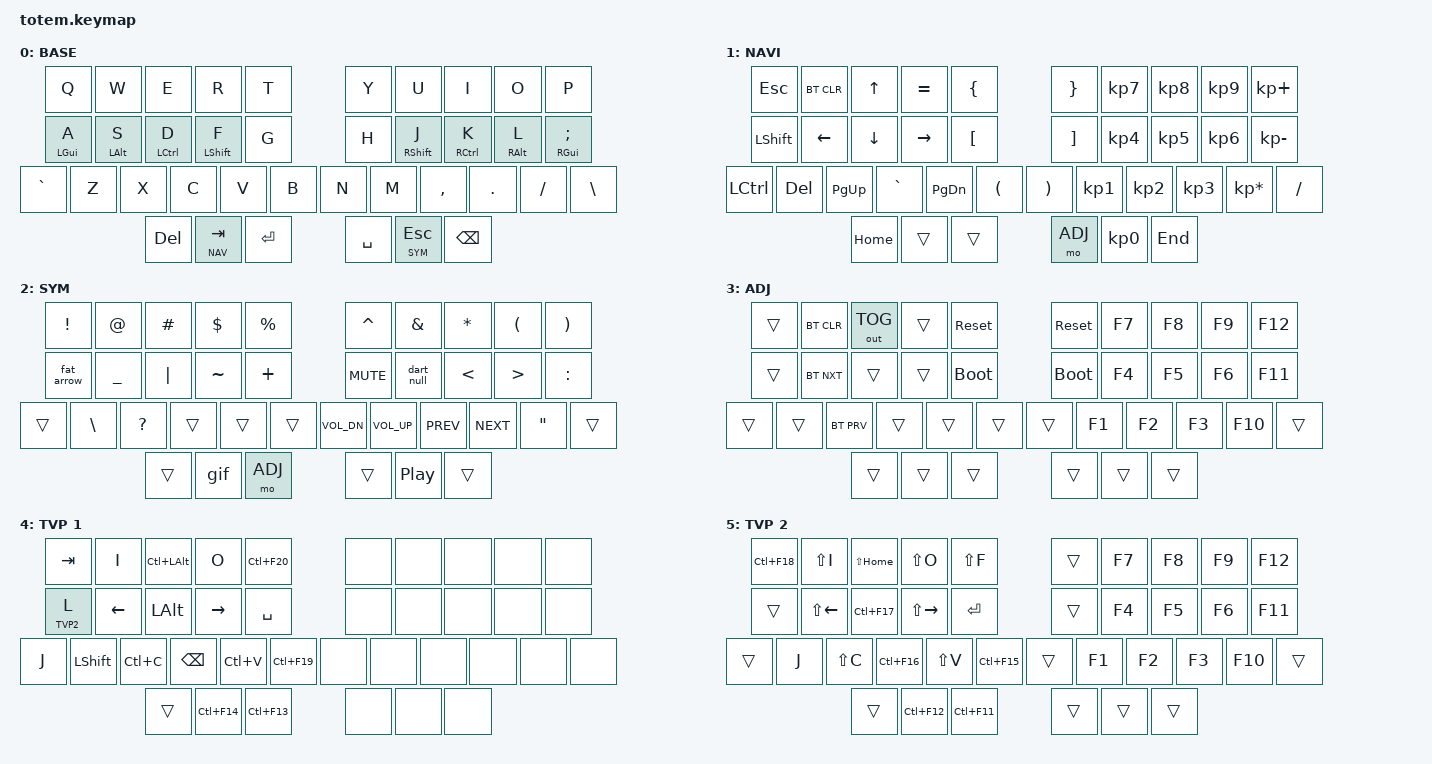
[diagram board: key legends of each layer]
//
//                                                        ▀▀▀▀▀     ▀▀▀▀▀          ▀▀█▀▀
//                                                        ▄▀▀▀▄  ▄  ▄▀▀▀▄  ▄  ▄▀▀▀▄  █  ▄▀▀▀▄
//                                                        █   █  █  █   █  █  █   █  █  █   █
//                                                         ▀▀▀   █   ▀▀▀   █   ▀▀▀   ▀   ▀▀▀
//                                                               █      ▄▄▄█▄▄▄    █   █  
//                                                               ▀      █  █  █     █▄█
//                                                             ▀▀▀▀▀    █  █  █      ▀
//                                                                      ▀  ▀  ▀
//
// ▄▄▄▄▄▄▄▄▄▄▄▄▄▄▄▄▄▄▄▄▄▄▄▄▄▄▄▄▄▄▄▄▄▄▄▄▄▄▄▄▄▄▄▄▄▄▄▄▄▄▄▄▄▄▄▄▄▄▄▄▄▄▄▄▄▄▄▄▄▄▄▄▄▄▄▄▄▄▄▄▄▄▄▄▄▄▄▄▄▄▄▄▄▄▄▄▄▄▄▄▄▄▄▄▄▄▄▄▄▄▄▄▄▄▄▄▄▄▄▄▄▄▄▄▄▄▄▄▄▄▄▄▄▄▄▄▄▄▄▄▄▄▄▄▄▄▄▄▄
       

#include <behaviors.dtsi>
#include <dt-bindings/zmk/keys.h>
#include <dt-bindings/zmk/bt.h>
#include <dt-bindings/zmk/outputs.h>

#define BASE 0
#define NAV  1
#define SYM  2
#define ADJ  3
#define TVP1 4
#define TVP2 5

&mt {
  quick-tap-ms = <100>;
  global-quick-tap;
  flavor = "tap-preferred";
  tapping-term-ms = <170>;
};

/ {
     combos {
            compatible = "zmk,combos";
            combo_esc {
                timeout-ms = <50>;
                key-positions = <0 1>;
                bindings = <&kp ESC>;
            };
            combo_tvp {
                timeout-ms = <100>;
                key-positions = <11 12 13>;
                bindings = <&tog TVP1>;
            };
            // Programming combos for Flutter/Go
            combo_underscore {
                timeout-ms = <50>;
                key-positions = <13 14>;  // R+T
                bindings = <&kp UNDER>;
            };
            combo_minus {
                timeout-ms = <50>;
                key-positions = <15 16>;  // Y+U
                bindings = <&kp MINUS>;
            };
            combo_equal {
                timeout-ms = <50>;
                key-positions = <16 17>;  // U+I
                bindings = <&kp EQUAL>;
            };
            combo_arrow {
                timeout-ms = <50>;
                key-positions = <28 29>;  // ,+.
                bindings = <&arrow_macro>;
            };
    };

    macros {
        gif: gif {
            label = "giphy";
            compatible = "zmk,behavior-macro";
            #binding-cells = <0>;
            bindings
                = <&macro_press &kp LSHFT>
                , <&macro_tap &kp N2>
                , <&macro_release &kp LSHFT>
                , <&macro_tap &kp G &kp I &kp F>
                ;
        };
        
        arrow_macro: arrow_macro {
            label = "arrow";
            compatible = "zmk,behavior-macro";
            #binding-cells = <0>;
            bindings
                = <&macro_tap &kp MINUS &kp GT>
                ;
        };
        
        fat_arrow: fat_arrow {
            label = "fat_arrow";
            compatible = "zmk,behavior-macro";
            #binding-cells = <0>;
            bindings
                = <&macro_tap &kp EQUAL &kp GT>
                ;
        };
        
        dart_null: dart_null {
            label = "dart_null";
            compatible = "zmk,behavior-macro";
            #binding-cells = <0>;
            bindings
                = <&macro_tap &kp QMARK &kp QMARK>
                ;
        };
    };


        keymap {
                compatible = "zmk,keymap";
// ▄▄▄▄▄▄▄▄▄▄▄▄▄▄▄▄▄▄▄▄▄▄▄▄▄▄▄▄▄▄▄▄▄▄▄▄▄▄▄▄▄▄▄▄▄▄▄▄▄▄▄▄▄▄▄▄▄▄▄▄▄▄▄▄▄▄▄▄▄▄▄▄▄▄▄▄▄▄▄▄▄▄▄▄▄▄▄▄▄▄▄▄▄▄▄▄▄▄▄▄▄▄▄▄▄▄▄▄▄▄▄▄▄▄▄▄▄▄▄▄▄▄▄▄▄▄▄▄▄▄▄▄▄▄▄▄▄▄▄▄▄▄▄▄▄▄▄▄▄

                base_layer {
// ┏━━━━━━━━━━━━━━━━━━━━━━━━━━━━━━━━━━━━━━━┓
label= "BASE"                              ;
// ┗━━━━━━━━━━━━━━━━━━━━━━━━━━━━━━━━━━━━━━━┛
//             ┏━━━━━━━━━━━┳━━━━━━━━━━━┳━━━━━━━━━━━┳━━━━━━━━━━━┳━━━━━━━━━━━┓   ┏━━━━━━━━━━━┳━━━━━━━━━━━┳━━━━━━━━━━━┳━━━━━━━━━━━┳━━━━━━━━━━━┓
//             ┃     Q     ┃     W     ┃     E     ┃     R     ┃     T     ┃   ┃     Y     ┃     U     ┃     I     ┃     O     ┃     P     ┃
//             ┣━━━━━━━━━━━╋━━━━━━━━━━━╋━━━━━━━━━━━╋━━━━━━━━━━━╋━━━━━━━━━━━┫   ┣━━━━━━━━━━━╋━━━━━━━━━━━╋━━━━━━━━━━━╋━━━━━━━━━━━╋━━━━━━━━━━━┫
//             ┃     A     ┃     S     ┃     D     ┃     F     ┃     G     ┃   ┃     H     ┃     J     ┃     K     ┃     L     ┃     ;     ┃
// ┏━━━━━━━━━━━╋━━━━━━━━━━━╋━━━━━━━━━━━╋━━━━━━━━━━━╋━━━━━━━━━━━╋━━━━━━━━━━━┫   ┣━━━━━━━━━━━╋━━━━━━━━━━━╋━━━━━━━━━━━╋━━━━━━━━━━━╋━━━━━━━━━━━╋━━━━━━━━━━━┓
// ┃     `     ┃     Z     ┃     X     ┃     C     ┃     V     ┃     B     ┃   ┃     N     ┃     M     ┃     ,     ┃     .     ┃     /     ┃     \     ┃
// ┗━━━━━━━━━━━┻━━━━━━━━━━━┻━━━━━━━━━━━╋━━━━━━━━━━━╋━━━━━━━━━━━╋━━━━━━━━━━━┫   ┣━━━━━━━━━━━╋━━━━━━━━━━━╋━━━━━━━━━━━╋━━━━━━━━━━━┻━━━━━━━━━━━┻━━━━━━━━━━━┛
//                                     ┃    DEL    ┃    TAB    ┃   ENTER   ┃   ┃   SPACE   ┃    SYM    ┃   BSPC    ┃
//                                     ┗━━━━━━━━━━━┻━━━━━━━━━━━┻━━━━━━━━━━━┛   ┗━━━━━━━━━━━┻━━━━━━━━━━━┻━━━━━━━━━━━┛
 bindings = <
// ╷           ╷           ╷           ╷           ╷           ╷           ╷   ╷           ╷           ╷           ╷           ╷           ╷           ╷

                &kp Q       &kp W       &kp E       &kp R       &kp T           &kp Y       &kp U       &kp I       &kp O       &kp P
                &mt LGUI A  &mt LALT S  &mt LCTRL D &mt LSHFT F &kp G           &kp H       &mt RSHFT J &mt RCTRL K &mt RALT L  &mt RGUI SEMI
    &kp GRAVE   &kp Z       &kp X       &kp C       &kp V       &kp B           &kp N       &kp M       &kp COMMA   &kp DOT     &kp FSLH    &kp BSLH
                                        &kp DEL   &lt NAV TAB   &kp RET         &kp SPACE &lt SYM ESC   &kp BSPC
                        >;
                };

// ▄▄▄▄▄▄▄▄▄▄▄▄▄▄▄▄▄▄▄▄▄▄▄▄▄▄▄▄▄▄▄▄▄▄▄▄▄▄▄▄▄▄▄▄▄▄▄▄▄▄▄▄▄▄▄▄▄▄▄▄▄▄▄▄▄▄▄▄▄▄▄▄▄▄▄▄▄▄▄▄▄▄▄▄▄▄▄▄▄▄▄▄▄▄▄▄▄▄▄▄▄▄▄▄▄▄▄▄▄▄▄▄▄▄▄▄▄▄▄▄▄▄▄▄▄▄▄▄▄▄▄▄▄▄▄▄▄▄▄▄▄▄▄▄▄▄▄▄▄


                nav_layer {
// ┏━━━━━━━━━━━━━━━━━━━━━━━━━━━━━━━━━━━━━━━┓
label= "NAVI"                              ;
// ┗━━━━━━━━━━━━━━━━━━━━━━━━━━━━━━━━━━━━━━━┛
//             ┏━━━━━━━━━━━┳━━━━━━━━━━━┳━━━━━━━━━━━┳━━━━━━━━━━━┳━━━━━━━━━━━┓   ┏━━━━━━━━━━━┳━━━━━━━━━━━┳━━━━━━━━━━━┳━━━━━━━━━━━┳━━━━━━━━━━━┓
//             ┃    ESC    ┃  BT_CLR   ┃     UP    ┃     =     ┃     {     ┃   ┃     }     ┃     7     ┃     8     ┃     9     ┃     +     ┃
//             ┣━━━━━━━━━━━╋━━━━━━━━━━━╋━━━━━━━━━━━╋━━━━━━━━━━━╋━━━━━━━━━━━┫   ┣━━━━━━━━━━━╋━━━━━━━━━━━╋━━━━━━━━━━━╋━━━━━━━━━━━╋━━━━━━━━━━━┫
//             ┃   SHIFT   ┃   LEFT    ┃    DOWN   ┃   RIGHT   ┃     [     ┃   ┃     ]     ┃     4     ┃     5     ┃     6     ┃     -     ┃
// ┏━━━━━━━━━━━╋━━━━━━━━━━━╋━━━━━━━━━━━╋━━━━━━━━━━━╋━━━━━━━━━━━╋━━━━━━━━━━━┫   ┣━━━━━━━━━━━╋━━━━━━━━━━━╋━━━━━━━━━━━╋━━━━━━━━━━━╋━━━━━━━━━━━╋━━━━━━━━━━━┓
// ┃   CTRL    ┃    DEL    ┃   P UP    ┃    `      ┃  P DOWN   ┃     (     ┃   ┃     )     ┃     1     ┃     2     ┃     3     ┃     *     ┃    /      ┃
// ┗━━━━━━━━━━━┻━━━━━━━━━━━┻━━━━━━━━━━━╋━━━━━━━━━━━╋━━━━━━━━━━━╋━━━━━━━━━━━┫   ┣━━━━━━━━━━━╋━━━━━━━━━━━╋━━━━━━━━━━━╋━━━━━━━━━━━┻━━━━━━━━━━━┻━━━━━━━━━━━┛
//                                     ┃   HOME    ┃    TAB    ┃    SPC    ┃   ┃    DEL    ┃     0     ┃    END    ┃
//                                     ┗━━━━━━━━━━━┻━━━━━━━━━━━┻━━━━━━━━━━━┛   ┗━━━━━━━━━━━┻━━━━━━━━━━━┻━━━━━━━━━━━┛
 bindings = <
// ╷           ╷           ╷           ╷           ╷           ╷           ╷   ╷           ╷           ╷           ╷           ╷           ╷           ╷

                &kp ESC     &bt BT_CLR  &kp UP      &kp EQUAL   &kp LBRC        &kp RBRC    &kp KP_N7   &kp KP_N8   &kp KP_N9   &kp KP_PLUS
                &kp LSHFT   &kp LEFT    &kp DOWN    &kp RIGHT   &kp LBKT        &kp RBKT    &kp KP_N4   &kp KP_N5   &kp KP_N6   &kp KP_MINUS
    &kp LCTRL   &kp DEL     &kp PG_UP   &kp GRAVE   &kp PG_DN   &kp LPAR        &kp RPAR    &kp KP_N1   &kp KP_N2   &kp KP_N3   &kp KP_MULTIPLY &kp FSLH      
                                        &kp HOME    &trans      &trans          &mo ADJ     &kp KP_N0   &kp END      
                        >;
                };

// ▄▄▄▄▄▄▄▄▄▄▄▄▄▄▄▄▄▄▄▄▄▄▄▄▄▄▄▄▄▄▄▄▄▄▄▄▄▄▄▄▄▄▄▄▄▄▄▄▄▄▄▄▄▄▄▄▄▄▄▄▄▄▄▄▄▄▄▄▄▄▄▄▄▄▄▄▄▄▄▄▄▄▄▄▄▄▄▄▄▄▄▄▄▄▄▄▄▄▄▄▄▄▄▄▄▄▄▄▄▄▄▄▄▄▄▄▄▄▄▄▄▄▄▄▄▄▄▄▄▄▄▄▄▄▄▄▄▄▄▄▄▄▄▄▄▄▄▄▄


                sim_layer {
// ┏━━━━━━━━━━━━━━━━━━━━━━━━━━━━━━━━━━━━━━━┓
label= "SYM"                               ;
// ┗━━━━━━━━━━━━━━━━━━━━━━━━━━━━━━━━━━━━━━━┛
//             ┏━━━━━━━━━━━┳━━━━━━━━━━━┳━━━━━━━━━━━┳━━━━━━━━━━━┳━━━━━━━━━━━┓   ┏━━━━━━━━━━━┳━━━━━━━━━━━┳━━━━━━━━━━━┳━━━━━━━━━━━┳━━━━━━━━━━━┓
//             ┃     !     ┃     @     ┃     #     ┃     $     ┃     %     ┃   ┃     ^     ┃     &     ┃     *     ┃     (     ┃     )     ┃
//             ┣━━━━━━━━━━━╋━━━━━━━━━━━╋━━━━━━━━━━━╋━━━━━━━━━━━╋━━━━━━━━━━━┫   ┣━━━━━━━━━━━╋━━━━━━━━━━━╋━━━━━━━━━━━╋━━━━━━━━━━━╋━━━━━━━━━━━┫
//             ┃    =>     ┃     _     ┃     |     ┃     ~     ┃     +     ┃   ┃   MUTE    ┃    ??     ┃     <     ┃     >     ┃     :     ┃
// ┏━━━━━━━━━━━╋━━━━━━━━━━━╋━━━━━━━━━━━╋━━━━━━━━━━━╋━━━━━━━━━━━╋━━━━━━━━━━━┫   ┣━━━━━━━━━━━╋━━━━━━━━━━━╋━━━━━━━━━━━╋━━━━━━━━━━━╋━━━━━━━━━━━╋━━━━━━━━━━━┓
// ┃           ┃     \     ┃     ?     ┃           ┃           ┃           ┃   ┃   VOL-    ┃   VOL+    ┃   LAST    ┃   NEXT    ┃     "     ┃           ┃
// ┗━━━━━━━━━━━┻━━━━━━━━━━━┻━━━━━━━━━━━╋━━━━━━━━━━━╋━━━━━━━━━━━╋━━━━━━━━━━━┫   ┣━━━━━━━━━━━╋━━━━━━━━━━━╋━━━━━━━━━━━╋━━━━━━━━━━━┻━━━━━━━━━━━┻━━━━━━━━━━━┛
//                                     ┃           ┃    GIF    ┃    ADJ    ┃   ┃           ┃   PLAY    ┃           ┃
//                                     ┗━━━━━━━━━━━┻━━━━━━━━━━━┻━━━━━━━━━━━┛   ┗━━━━━━━━━━━┻━━━━━━━━━━━┻━━━━━━━━━━━┛
 bindings = <
// ╷           ╷           ╷           ╷           ╷           ╷           ╷   ╷           ╷           ╷           ╷           ╷           ╷           ╷

                &kp EXCL    &kp AT      &kp HASH    &kp DLLR    &kp PRCNT       &kp CARET   &kp AMPS    &kp ASTRK   &kp LPAR    &kp RPAR       
                &fat_arrow  &kp UNDER   &kp PIPE    &kp TILDE   &kp PLUS        &kp C_MUTE  &dart_null  &kp LT      &kp GT      &kp COLON 
    &trans      &kp BSLH    &kp QMARK   &trans      &trans      &trans          &kp C_VOL_DN &kp C_VOL_UP &kp C_PREV &kp C_NEXT  &kp DQT    &trans         
                                        &trans      &gif        &mo ADJ         &trans      &kp C_PP    &trans      
                        >;
                };

// ▄▄▄▄▄▄▄▄▄▄▄▄▄▄▄▄▄▄▄▄▄▄▄▄▄▄▄▄▄▄▄▄▄▄▄▄▄▄▄▄▄▄▄▄▄▄▄▄▄▄▄▄▄▄▄▄▄▄▄▄▄▄▄▄▄▄▄▄▄▄▄▄▄▄▄▄▄▄▄▄▄▄▄▄▄▄▄▄▄▄▄▄▄▄▄▄▄▄▄▄▄▄▄▄▄▄▄▄▄▄▄▄▄▄▄▄▄▄▄▄▄▄▄▄▄▄▄▄▄▄▄▄▄▄▄▄▄▄▄▄▄▄▄▄▄▄▄▄▄


                adjust_layer {
// ┏━━━━━━━━━━━━━━━━━━━━━━━━━━━━━━━━━━━━━━━┓
label= "ADJ"                               ;
// ┗━━━━━━━━━━━━━━━━━━━━━━━━━━━━━━━━━━━━━━━┛
//             ┏━━━━━━━━━━━┳━━━━━━━━━━━┳━━━━━━━━━━━┳━━━━━━━━━━━┳━━━━━━━━━━━┓   ┏━━━━━━━━━━━┳━━━━━━━━━━━┳━━━━━━━━━━━┳━━━━━━━━━━━┳━━━━━━━━━━━┓
//             ┃           ┃ BT CLEAR  ┃  OUT TOG  ┃           ┃SYS RESET  ┃   ┃SYS RESET  ┃    F7     ┃    F8     ┃    F9     ┃    F12    ┃
//             ┣━━━━━━━━━━━╋━━━━━━━━━━━╋━━━━━━━━━━━╋━━━━━━━━━━━╋━━━━━━━━━━━┫   ┣━━━━━━━━━━━╋━━━━━━━━━━━╋━━━━━━━━━━━╋━━━━━━━━━━━╋━━━━━━━━━━━┫
//             ┃           ┃ BT NEXT   ┃           ┃           ┃ BOOTLOAD  ┃   ┃ BOOTLOAD  ┃    F4     ┃    F5     ┃    F6     ┃    F11    ┃
// ┏━━━━━━━━━━━╋━━━━━━━━━━━╋━━━━━━━━━━━╋━━━━━━━━━━━╋━━━━━━━━━━━╋━━━━━━━━━━━┫   ┣━━━━━━━━━━━╋━━━━━━━━━━━╋━━━━━━━━━━━╋━━━━━━━━━━━╋━━━━━━━━━━━╋━━━━━━━━━━━┓
// ┃           ┃           ┃ BT PREV   ┃           ┃           ┃           ┃   ┃           ┃    F1     ┃    F2     ┃    F3     ┃    F10    ┃           ┃
// ┗━━━━━━━━━━━┻━━━━━━━━━━━┻━━━━━━━━━━━╋━━━━━━━━━━━╋━━━━━━━━━━━╋━━━━━━━━━━━┫   ┣━━━━━━━━━━━╋━━━━━━━━━━━╋━━━━━━━━━━━╋━━━━━━━━━━━┻━━━━━━━━━━━┻━━━━━━━━━━━┛
//                                     ┃           ┃           ┃           ┃   ┃           ┃           ┃           ┃
//                                     ┗━━━━━━━━━━━┻━━━━━━━━━━━┻━━━━━━━━━━━┛   ┗━━━━━━━━━━━┻━━━━━━━━━━━┻━━━━━━━━━━━┛
 bindings = <
// ╷           ╷           ╷           ╷           ╷           ╷           ╷   ╷           ╷           ╷           ╷           ╷           ╷           ╷

                &trans      &bt BT_CLR &out OUT_TOG &trans      &sys_reset      &sys_reset  &kp F7     &kp F8      &kp F9      &kp F12
                &trans  &bt BT_NXT  &trans      &trans      &bootloader          &bootloader &kp F4      &kp F5      &kp F6      &kp F11  
    &trans      &trans      &bt BT_PRV  &trans      &trans      &trans          &trans      &kp F1      &kp F2      &kp F3      &kp F10     &trans         
                                        &trans      &trans      &trans          &trans      &trans      &trans      
                        >;
                };

// ▄▄▄▄▄▄▄▄▄▄▄▄▄▄▄▄▄▄▄▄▄▄▄▄▄▄▄▄▄▄▄▄▄▄▄▄▄▄▄▄▄▄▄▄▄▄▄▄▄▄▄▄▄▄▄▄▄▄▄▄▄▄▄▄▄▄▄▄▄▄▄▄▄▄▄▄▄▄▄▄▄▄▄▄▄▄▄▄▄▄▄▄▄▄▄▄▄▄▄▄▄▄▄▄▄▄▄▄▄▄▄▄▄▄▄▄▄▄▄▄▄▄▄▄▄▄▄▄▄▄▄▄▄▄▄▄▄▄▄▄▄▄▄▄▄▄▄▄▄


                tvp1_layer {
// ┏━━━━━━━━━━━━━━━━━━━━━━━━━━━━━━━━━━━━━━━┓
label= "TVP 1"                             ;
// ┗━━━━━━━━━━━━━━━━━━━━━━━━━━━━━━━━━━━━━━━┛
//             ┏━━━━━━━━━━━┳━━━━━━━━━━━┳━━━━━━━━━━━┳━━━━━━━━━━━┳━━━━━━━━━━━┓   ┏━━━━━━━━━━━┳━━━━━━━━━━━┳━━━━━━━━━━━┳━━━━━━━━━━━┳━━━━━━━━━━━┓
//             ┃ NEXT FILE ┃ MARK IN   ┃ ROTATE    ┃ MARK OUT  ┃ SHOW SNAP ┃   ┃           ┃           ┃           ┃           ┃           ┃
//             ┣━━━━━━━━━━━╋━━━━━━━━━━━╋━━━━━━━━━━━╋━━━━━━━━━━━╋━━━━━━━━━━━┫   ┣━━━━━━━━━━━╋━━━━━━━━━━━╋━━━━━━━━━━━╋━━━━━━━━━━━╋━━━━━━━━━━━┫
//             ┃ TVP II    ┃ LEFT      ┃ PAN       ┃ RIGHT     ┃ PLAY/FLIP ┃   ┃           ┃           ┃           ┃           ┃           ┃
// ┏━━━━━━━━━━━╋━━━━━━━━━━━╋━━━━━━━━━━━╋━━━━━━━━━━━╋━━━━━━━━━━━╋━━━━━━━━━━━┫   ┣━━━━━━━━━━━╋━━━━━━━━━━━╋━━━━━━━━━━━╋━━━━━━━━━━━╋━━━━━━━━━━━╋━━━━━━━━━━━┓
// ┃ FULLSCR   ┃ SHIFT     ┃ COPY      ┃ DELETE    ┃ PASTE     ┃ IMG MARK  ┃   ┃           ┃           ┃           ┃           ┃           ┃           ┃
// ┗━━━━━━━━━━━┻━━━━━━━━━━━┻━━━━━━━━━━━╋━━━━━━━━━━━╋━━━━━━━━━━━╋━━━━━━━━━━━┫   ┣━━━━━━━━━━━╋━━━━━━━━━━━╋━━━━━━━━━━━╋━━━━━━━━━━━┻━━━━━━━━━━━┻━━━━━━━━━━━┛
//                                     ┃           ┃ UNDO/SAVE ┃  SEL/MOV  ┃   ┃           ┃           ┃           ┃
//                                     ┗━━━━━━━━━━━┻━━━━━━━━━━━┻━━━━━━━━━━━┛   ┗━━━━━━━━━━━┻━━━━━━━━━━━┻━━━━━━━━━━━┛
 bindings = <
// ╷           ╷           ╷           ╷           ╷           ╷           ╷   ╷           ╷           ╷           ╷           ╷           ╷           ╷

                &kp TAB     &kp I       &kp LC(LALT) &kp O      &kp LC(F20)     &none       &none       &none       &none       &none
                &lt TVP2 L  &kp LEFT    &kp LALT    &kp RIGHT   &kp SPACE       &none       &none       &none       &none       &none
    &kp J       &kp LSHFT   &kp LC(C)   &kp BSPC    &kp LC(V)   &kp LC(F19)     &none       &none       &none       &none       &none       &none        
                                        &trans      &kp LC(F14) &kp LC(F13)     &none       &none       &none    
                        >;
                };

// ▄▄▄▄▄▄▄▄▄▄▄▄▄▄▄▄▄▄▄▄▄▄▄▄▄▄▄▄▄▄▄▄▄▄▄▄▄▄▄▄▄▄▄▄▄▄▄▄▄▄▄▄▄▄▄▄▄▄▄▄▄▄▄▄▄▄▄▄▄▄▄▄▄▄▄▄▄▄▄▄▄▄▄▄▄▄▄▄▄▄▄▄▄▄▄▄▄▄▄▄▄▄▄▄▄▄▄▄▄▄▄▄▄▄▄▄▄▄▄▄▄▄▄▄▄▄▄▄▄▄▄▄▄▄▄▄▄▄▄▄▄▄▄▄▄▄▄▄▄


                tvp2_layer {
// ┏━━━━━━━━━━━━━━━━━━━━━━━━━━━━━━━━━━━━━━━┓
label= "TVP 2"                             ;
// ┗━━━━━━━━━━━━━━━━━━━━━━━━━━━━━━━━━━━━━━━┛
//             ┏━━━━━━━━━━━┳━━━━━━━━━━━┳━━━━━━━━━━━┳━━━━━━━━━━━┳━━━━━━━━━━━┓   ┏━━━━━━━━━━━┳━━━━━━━━━━━┳━━━━━━━━━━━┳━━━━━━━━━━━┳━━━━━━━━━━━┓
//             ┃ SOLO      ┃ TOGGLE IN ┃ RESET ROT ┃ TOGGLE OUT┃ TAKE SNAP ┃   ┃           ┃           ┃           ┃           ┃           ┃
//             ┣━━━━━━━━━━━╋━━━━━━━━━━━╋━━━━━━━━━━━╋━━━━━━━━━━━╋━━━━━━━━━━━┫   ┣━━━━━━━━━━━╋━━━━━━━━━━━╋━━━━━━━━━━━╋━━━━━━━━━━━╋━━━━━━━━━━━┫
//             ┃ ---       ┃ LAST KEY  ┃ NEW KEY   ┃ NEXT KEY  ┃ ENTER     ┃   ┃           ┃           ┃           ┃           ┃           ┃
// ┏━━━━━━━━━━━╋━━━━━━━━━━━╋━━━━━━━━━━━╋━━━━━━━━━━━╋━━━━━━━━━━━╋━━━━━━━━━━━┫   ┣━━━━━━━━━━━╋━━━━━━━━━━━╋━━━━━━━━━━━╋━━━━━━━━━━━╋━━━━━━━━━━━╋━━━━━━━━━━━┓
// ┃           ┃ FULLSCR   ┃ CPY2BRUSH ┃ DEL HEAD  ┃ PSTinPLACE┃ BOOK MARK ┃   ┃           ┃           ┃           ┃           ┃           ┃           ┃
// ┗━━━━━━━━━━━┻━━━━━━━━━━━┻━━━━━━━━━━━╋━━━━━━━━━━━╋━━━━━━━━━━━╋━━━━━━━━━━━┫   ┣━━━━━━━━━━━╋━━━━━━━━━━━╋━━━━━━━━━━━╋━━━━━━━━━━━┻━━━━━━━━━━━┻━━━━━━━━━━━┛
//                                     ┃           ┃ REDO/SAV1 ┃TRANS/WARP ┃   ┃           ┃           ┃           ┃
//                                     ┗━━━━━━━━━━━┻━━━━━━━━━━━┻━━━━━━━━━━━┛   ┗━━━━━━━━━━━┻━━━━━━━━━━━┻━━━━━━━━━━━┛
 bindings = <
// ╷           ╷           ╷           ╷           ╷           ╷           ╷   ╷           ╷           ╷           ╷           ╷           ╷           ╷

                &kp LC(F18) &kp LS(I)  &kp LS(HOME) &kp LS(O)   &kp LS(F)       &trans      &kp F7      &kp F8      &kp F9      &kp F12
                &trans      &kp LS(LEFT) &kp LC(F17) &kp LS(RIGHT) &kp RET      &trans      &kp F4      &kp F5      &kp F6      &kp F11  
    &trans      &kp J       &kp LS(C)   &kp LC(F16) &kp LS(V)   &kp LC(F15)     &trans      &kp F1      &kp F2      &kp F3      &kp F10     &trans         
                                        &trans      &kp LC(F12) &kp LC(F11)     &trans      &trans      &trans      
                        >;
                };
        };
};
